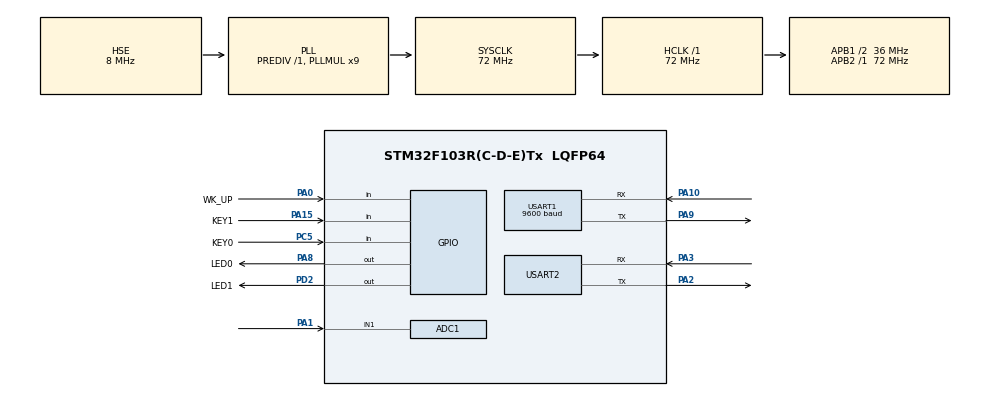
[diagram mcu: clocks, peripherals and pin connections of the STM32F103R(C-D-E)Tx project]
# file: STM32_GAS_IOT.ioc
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ADC1.Channel-0\#ChannelRegularConversion=ADC_CHANNEL_1
ADC1.NbrOfConversionFlag=1
ADC1.Rank-0\#ChannelRegularConversion=1
ADC1.SamplingTime-0\#ChannelRegularConversion=ADC_SAMPLETIME_1CYCLE_5
ADC1.master=1
Mcu.Family=STM32F1
Mcu.Name=STM32F103R(C-D-E)Tx
Mcu.Package=LQFP64
NVIC.PriorityGroup=NVIC_PRIORITYGROUP_4
NVIC.TIM1_UP_IRQn=true\:0\:0\:false\:false\:true\:true
NVIC.USART1_IRQn=true\:0\:0\:false\:false\:true\:true
NVIC.USART2_IRQn=true\:0\:0\:false\:false\:true\:true
PA0-WKUP.GPIO_Label=WK_UP
PA0-WKUP.GPIO_PuPd=GPIO_PULLDOWN
PA0-WKUP.Signal=GPIO_Input
PA1.Signal=ADCx_IN1
PA10.Mode=Asynchronous
PA10.Signal=USART1_RX
PA13.Mode=Serial_Wire
PA13.Signal=SYS_JTMS-SWDIO
PA14.Mode=Serial_Wire
PA14.Signal=SYS_JTCK-SWCLK
PA15.GPIO_Label=KEY1
PA15.GPIO_Mode=GPIO_MODE_INPUT
PA15.GPIO_PuPd=GPIO_PULLUP
PA15.Signal=GPIO_Input
PA2.Mode=Asynchronous
PA2.Signal=USART2_TX
PA3.Mode=Asynchronous
PA3.Signal=USART2_RX
PA8.GPIO_Label=LED0
PA8.GPIO_ModeDefaultOutputPP=GPIO_MODE_OUTPUT_PP
PA8.GPIO_PuPd=GPIO_PULLUP
PA8.GPIO_Speed=GPIO_SPEED_FREQ_HIGH
PA8.PinState=GPIO_PIN_SET
PA8.Signal=GPIO_Output
PA9.Mode=Asynchronous
PA9.Signal=USART1_TX
PC5.GPIO_Label=KEY0
PC5.GPIO_PuPd=GPIO_PULLUP
PC5.Signal=GPIO_Input
PD0-OSC_IN.Mode=HSE-External-Oscillator
PD0-OSC_IN.Signal=RCC_OSC_IN
PD1-OSC_OUT.Mode=HSE-External-Oscillator
PD1-OSC_OUT.Signal=RCC_OSC_OUT
PD2.GPIO_Label=LED1
PD2.GPIO_ModeDefaultOutputPP=GPIO_MODE_OUTPUT_PP
PD2.GPIO_PuPd=GPIO_PULLUP
PD2.GPIO_Speed=GPIO_SPEED_FREQ_HIGH
PD2.PinState=GPIO_PIN_SET
PD2.Signal=GPIO_Output
ProjectManager.HeapSize=0x200
ProjectManager.StackSize=0x400
ProjectManager.TargetToolchain=MDK-ARM V5
RCC.ADCPresc=RCC_ADCPCLK2_DIV6
RCC.AHBFreq_Value=72000000
RCC.APB1CLKDivider=RCC_HCLK_DIV2
RCC.APB1Freq_Value=36000000
RCC.APB1TimFreq_Value=72000000
RCC.APB2Freq_Value=72000000
RCC.APB2TimFreq_Value=72000000
RCC.HCLKFreq_Value=72000000
RCC.PLLMUL=RCC_PLL_MUL9
RCC.PLLSourceVirtual=RCC_PLLSOURCE_HSE
RCC.SYSCLKFreq_VALUE=72000000
RCC.SYSCLKSource=RCC_SYSCLKSOURCE_PLLCLK
RCC.USBFreq_Value=72000000
SH.ADCx_IN1.0=ADC1_IN1,IN1
TIM1.Period=10000-1
TIM1.Prescaler=7200-1
USART1.BaudRate=9600
USART1.VirtualMode=VM_ASYNC
USART2.VirtualMode=VM_ASYNC
VP_TIM1_VS_ClockSourceINT.Mode=Internal
board=custom

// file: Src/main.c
/* USER CODE BEGIN Header */
/**
  ******************************************************************************
  * @file           : main.c
  * @brief          : Main program body wifi
  ******************************************************************************
  ** This notice applies to any and all portions of this file
  * that are not between comment pairs USER CODE BEGIN and
  * USER CODE END. Other portions of this file, whether
  * inserted by the user or by software development tools
  * are owned by their respective copyright owners.
  *
  * COPYRIGHT(c) 2019 STMicroelectronics
  *
  * Redistribution and use in source and binary forms, with or without modification,
  * are permitted provided that the following conditions are met:
  *   1. Redistributions of source code must retain the above copyright notice,
  *      this list of conditions and the following disclaimer.
  *   2. Redistributions in binary form must reproduce the above copyright notice,
  *      this list of conditions and the following disclaimer in the documentation
  *      and/or other materials provided with the distribution.
  *   3. Neither the name of STMicroelectronics nor the names of its contributors
  *      may be used to endorse or promote products derived from this software
  *      without specific prior written permission.
  *
  * THIS SOFTWARE IS PROVIDED BY THE COPYRIGHT HOLDERS AND CONTRIBUTORS "AS IS"
  * AND ANY EXPRESS OR IMPLIED WARRANTIES, INCLUDING, BUT NOT LIMITED TO, THE
  * IMPLIED WARRANTIES OF MERCHANTABILITY AND FITNESS FOR A PARTICULAR PURPOSE ARE
  * DISCLAIMED. IN NO EVENT SHALL THE COPYRIGHT HOLDER OR CONTRIBUTORS BE LIABLE
  * FOR ANY DIRECT, INDIRECT, INCIDENTAL, SPECIAL, EXEMPLARY, OR CONSEQUENTIAL
  * DAMAGES (INCLUDING, BUT NOT LIMITED TO, PROCUREMENT OF SUBSTITUTE GOODS OR
  * SERVICES; LOSS OF USE, DATA, OR PROFITS; OR BUSINESS INTERRUPTION) HOWEVER
  * CAUSED AND ON ANY THEORY OF LIABILITY, WHETHER IN CONTRACT, STRICT LIABILITY,
  * OR TORT (INCLUDING NEGLIGENCE OR OTHERWISE) ARISING IN ANY WAY OUT OF THE USE
  * OF THIS SOFTWARE, EVEN IF ADVISED OF THE POSSIBILITY OF SUCH DAMAGE.
  *
  ******************************************************************************
  */
/* USER CODE END Header */

#include "main.h"
#include "adc.h"
#include "tim.h"
#include "usart.h"
#include "gpio.h"

/* USER CODE BEGIN Includes */
#include "key.h"
#include "delay.h"
#include "lcd.h"
#include "ESP8266.h"
/* USER CODE END Includes */

void SystemClock_Config(void);

/* USER CODE BEGIN 0 */
char THINK_SPEAK_KEY[20] = "xxxxxxxxxxxxxxxx";		//Think speak key
char WIFI_SSID[20] = "xxxxx";											//wifi ssid
char WIFI_PASSWORD[20] = "xxxxxxxx";							//wifi password

int sensorValue = 0;
int gas_enable = 0;

float sensor_volt;
float RS_gas; // Get value of RS in a GAS
float ratio; // Get ratio RS_GAS/RS_air
float R0;  // Get the value of R0 via in LPG
float RS_air; //  Get the value of RS via in a clear air

uint8_t Senser_Init_FLAG = 0;
uint8_t UPLOAD_FLAG = 0;
uint8_t GAS_DETECT_FLAG = 0;

uint8_t UART_Result;

ESP8266_StateTypeDef ESP8266_STATUS = ESP8266_STATE_READY;
WIFI_StateTypeDef WIFI_STATUS = ESP8266_STATE_DISCONNECT;

/* USER CODE END 0 */

int main(void)
{
  /* USER CODE BEGIN 1 */
	uint8_t key=0;

	uint16_t adcx;
	uint16_t temp_int;
	float temp;
	float temp_radio;
	float temp_R0;
  /* USER CODE END 1 */

  /* MCU Configuration--------------------------------------------------------*/

  /* Reset of all peripherals, Initializes the Flash interface and the Systick. */
  HAL_Init();

  /* Configure the system clock */
  SystemClock_Config();

  /* USER CODE BEGIN SysInit */
	delay_init();
  /* USER CODE END SysInit */

  /* Initialize all configured peripherals */
  MX_GPIO_Init();
  MX_ADC1_Init();
  MX_USART1_UART_Init();
  MX_USART2_UART_Init();
  MX_TIM1_Init();
  /* USER CODE BEGIN 2 */
	HAL_TIM_Base_Start_IT(&htim1);

	if(LCD_ENABLE){
		LCD_Init();
	}

	POINT_COLOR=BLUE;//Set the font to blue

	GAS_Upload_Init();

	//Display gas data
	LCD_ShowString_User(30,130,200,16,16,(uint8_t*)"ADC_CH1_VAL:");
	LCD_ShowString_User(30,150,200,16,16,(uint8_t*)"ADC_CH1_VOL:0.000V");
	LCD_ShowString_User(30,170,200,16,16,(uint8_t*)"Please wait senser 5'min");
	LCD_ShowString_User(30,190,200,16,16,(uint8_t*)"When init success");
	LCD_ShowString_User(30,210,200,16,16,(uint8_t*)"Key_0: Let senser init");
	LCD_ShowString_User(30,230,200,16,16,(uint8_t*)"Key_1: Start detect");
	LCD_ShowString_User(30,250,200,16,16,(uint8_t*)"WK_UP: Upload data");
	//notice: To you must initialize senser before start detect

  /* USER CODE END 2 */

  /* Infinite loop */
  while (1)
  {

    /* USER CODE BEGIN 3 */

		adcx=Get_Adc_Average(ADC_CH1,10);
		LCD_ShowxNum(126,130,adcx,4,16,0);//Display ADC value
		temp=(float)adcx*(3.3/4096);
		adcx=temp;
		LCD_ShowxNum(126,150,adcx,1,16,0);//Display voltage value
		temp-=adcx;
		temp*=1000;

		if(gas_enable){
	    sensor_volt=(float)temp/1000;
			RS_gas = (3.3-sensor_volt)/sensor_volt; // omit *RL
			ratio = RS_gas/R0;

			LCD_ShowxNum(78,170,R0,1,16,0);//Display R0 value
			temp_R0 = R0;
			temp_int = temp_R0;
			temp_R0 -= temp_int;
			temp_R0 *= 1000;
			LCD_ShowxNum(94,170,temp_R0,3,16,0x80);

			LCD_ShowxNum(78,190,ratio,2,16,0);//Display Rs/R0 value
			temp_radio = ratio;
			temp_int = temp_radio;
			temp_radio -= temp_int;
			temp_radio *= 1000;
			LCD_ShowxNum(102,190,temp_radio,3,16,0x80);
		}

		key=KEY_Scan(0);		//Get button key
		switch(key)
		{
			case KEY0_PRES:
				//Initialize gas senser
				HAL_GPIO_WritePin(LED0_GPIO_Port, LED0_Pin,GPIO_PIN_RESET);
				LCD_ShowString_User(30,170,200,16,16,(uint8_t*)"R0:   x.xxx              ");
				LCD_ShowString_User(30,190,200,16,16,(uint8_t*)"Rs/R0:xx.xxx             ");
				LCD_ShowString_User(30,210,200,16,16,(uint8_t*)"                         ");
				LCD_ShowString_User(30,230,200,16,16,(uint8_t*)"                         ");
				LCD_ShowString_User(30,250,200,16,16,(uint8_t*)"                         ");
				GAS_Init();
				Senser_Init_FLAG = 1;
				Set_Upload_Count(0);
				UPLOAD_FLAG = 0;
				HAL_GPIO_WritePin(LED0_GPIO_Port, LED0_Pin,GPIO_PIN_SET);
				break;
			case KEY1_PRES:
				//Start detect
				if(Senser_Init_FLAG){
					gas_enable = !gas_enable;
				}
				if(gas_enable){
					 HAL_GPIO_WritePin(LED1_GPIO_Port, LED1_Pin,GPIO_PIN_RESET);
				}
				else{
					HAL_GPIO_WritePin(LED1_GPIO_Port, LED1_Pin,GPIO_PIN_SET);
				}

				break;
			case WKUP_PRES:
				//Upload data to Thing Speak when wifi didn't initialize success wiil restart initialize wifi
				GAS_Data_Upload(ratio,R0,0);
				break;
			default:
				delay_ms(10);
		}

		if(UPLOAD_FLAG && Senser_Init_FLAG){
			GAS_Data_Upload(ratio,R0,1);
		}

		LCD_ShowxNum(142,150,temp,3,16,0X80);
		delay_ms(10);
	}

  /* USER CODE END 3 */
}

void SystemClock_Config(void)
{
  RCC_OscInitTypeDef RCC_OscInitStruct = {0};
  RCC_ClkInitTypeDef RCC_ClkInitStruct = {0};
  RCC_PeriphCLKInitTypeDef PeriphClkInit = {0};

  /**Initializes the CPU, AHB and APB busses clocks
  */
  RCC_OscInitStruct.OscillatorType = RCC_OSCILLATORTYPE_HSE;
  RCC_OscInitStruct.HSEState = RCC_HSE_ON;
  RCC_OscInitStruct.HSEPredivValue = RCC_HSE_PREDIV_DIV1;
  RCC_OscInitStruct.HSIState = RCC_HSI_ON;
  RCC_OscInitStruct.PLL.PLLState = RCC_PLL_ON;
  RCC_OscInitStruct.PLL.PLLSource = RCC_PLLSOURCE_HSE;
  RCC_OscInitStruct.PLL.PLLMUL = RCC_PLL_MUL9;
  if (HAL_RCC_OscConfig(&RCC_OscInitStruct) != HAL_OK)
  {
    Error_Handler();
  }
  /**Initializes the CPU, AHB and APB busses clocks
  */
  RCC_ClkInitStruct.ClockType = RCC_CLOCKTYPE_HCLK|RCC_CLOCKTYPE_SYSCLK
                              |RCC_CLOCKTYPE_PCLK1|RCC_CLOCKTYPE_PCLK2;
  RCC_ClkInitStruct.SYSCLKSource = RCC_SYSCLKSOURCE_PLLCLK;
  RCC_ClkInitStruct.AHBCLKDivider = RCC_SYSCLK_DIV1;
  RCC_ClkInitStruct.APB1CLKDivider = RCC_HCLK_DIV2;
  RCC_ClkInitStruct.APB2CLKDivider = RCC_HCLK_DIV1;

  if (HAL_RCC_ClockConfig(&RCC_ClkInitStruct, FLASH_LATENCY_2) != HAL_OK)
  {
    Error_Handler();
  }
  PeriphClkInit.PeriphClockSelection = RCC_PERIPHCLK_ADC;
  PeriphClkInit.AdcClockSelection = RCC_ADCPCLK2_DIV6;
  if (HAL_RCCEx_PeriphCLKConfig(&PeriphClkInit) != HAL_OK)
  {
    Error_Handler();
  }
}

/* USER CODE BEGIN 4 */

/**
  * @brief Gas detect value initialize
  * @retval None
  */
void GAS_Init(void){
	sensorValue = Get_Adc_Average(ADC_CH1,100);

	sensor_volt = (float)sensorValue/4096*3.3;
	RS_air = (3.3-sensor_volt)/sensor_volt; // omit *RL
	R0 = RS_air/9.9; // The ratio of RS/R0 is 9.9 in LPG gas
}

/**
  * @brief ESP8266 initialize for upload gas detect vaule
  * @retval None
  */
void GAS_Upload_Init(void){
	if(WIFI_ENABLE){
		LCD_ShowString_User(30,50,200,16,16,(uint8_t*)"ESP8266 init           ");
		LCD_ShowString_User(30,70,200,16,16,(uint8_t*)"                       ");

		UART_Result = UART_Transmit_8266(&huart2,"AT+RST","ready",5);

		if(UART_Result){
			char buffer_array_mid[10] ="\",\"";
			char buffer_array_end[5] ="\"";
			char data_array[UART_TX_LENGH] ="AT+CWJAP=\"";

			strcat(data_array,WIFI_SSID);
			strcat(data_array,buffer_array_mid);
			strcat(data_array,WIFI_PASSWORD);
			strcat(data_array,buffer_array_end);

			LCD_ShowString_User(30,50,200,16,16,(uint8_t*)"ESP8266 init success");
			LCD_ShowString_User(30,70,200,16,16,(uint8_t*)"WiFi connecting");

			UART_Transmit_8266(&huart2,"AT+CWMODE=3","OK",3);
			UART_Result = UART_Transmit_8266(&huart2,data_array,"WIFI GOT IP",10);
			if(UART_Result)
			{
				Set_WIFI_State(ESP8266_STATE_CONNECT);
				LCD_ShowString_User(30,70,200,16,16,(uint8_t*)"WiFi connection success");
			}
			else{
				Set_WIFI_State(ESP8266_STATE_DISCONNECT);
				LCD_ShowString_User(30,70,200,16,16,(uint8_t*)"WiFi connection fail");
			}
		}
		else{
			LCD_ShowString_User(30,50,200,16,16,(uint8_t*)"ESP8266 init fail");
		}
	}
}

/**
  * @brief ESP8266 upload gas value to think speak
  * @retval None
  */
void GAS_Data_Upload(float ratio_upload,float R0_upload,uint8_t auto_flag){
	if(WIFI_ENABLE){
		LCD_ShowString_User(30,110,200,16,16,(uint8_t*)"UART to ESP8266");

		if(WIFI_STATUS == ESP8266_STATE_DISCONNECT && auto_flag == 0){
			GAS_Upload_Init();
		}

		if(WIFI_STATUS == ESP8266_STATE_CONNECT){
			LCD_ShowString_User(30,90,200,16,16,(uint8_t*)"Upload start...");

			char buffer_array[100] ="";
			char data_array[UART_TX_LENGH] ="GET https://api.thingspeak.com/update?api_key=";

			sprintf(buffer_array,("&field1=%1.4f&field2=%1.4f"),ratio_upload,R0_upload);

			strcat(data_array,THINK_SPEAK_KEY);
			strcat(data_array,buffer_array);

			UART_Transmit_8266(&huart2,"AT+CIPSTART=\"TCP\",\"184.106.153.149\",80","OK",3);
			UART_Result = Send_Data_Once_8266(&huart2,data_array,"IPD",3);

			if(UART_Result)
			{
				LCD_ShowString_User(30,90,200,16,16,(uint8_t*)"Upload success ");
			}
			else
			{
				LCD_ShowString_User(30,90,200,16,16,(uint8_t*)"Upload Fail    ");
			}

		}

		LCD_ShowString_User(30,110,200,16,16,(uint8_t*)"               ");
	}
	Set_Upload_Count(0);
	UPLOAD_FLAG = 0;

}

/**
  * @brief LCD_ShowString with enable flag
  * @retval None
  */
void LCD_ShowString_User(uint16_t x,uint16_t y,uint16_t width,uint16_t height,uint8_t size,uint8_t *p){
	if(LCD_ENABLE){
		LCD_ShowString(x,y,width,height,size,p);
	}
}

/* USER CODE END 4 */

void Error_Handler(void)
{
}

/************************ (C) COPYRIGHT STMicroelectronics *****END OF FILE****/
